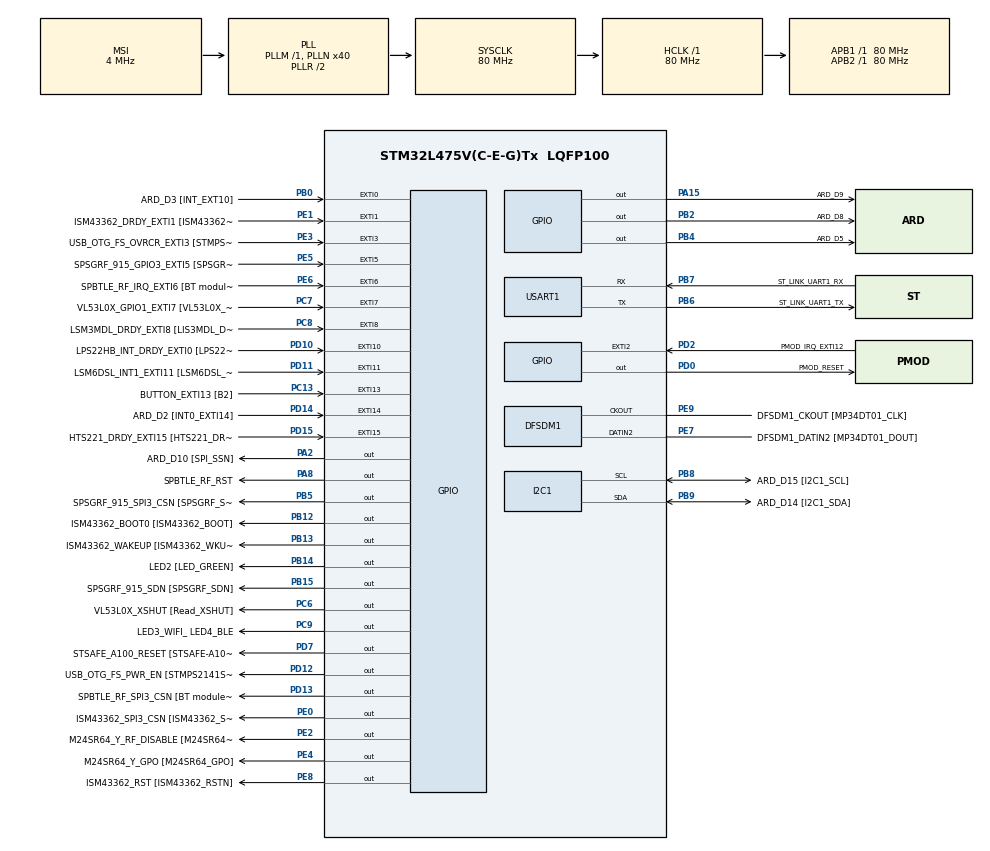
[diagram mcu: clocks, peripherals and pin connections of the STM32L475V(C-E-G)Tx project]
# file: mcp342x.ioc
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PD12.GPIO_Label=USB_OTG_FS_PWR_EN [STMPS2141STR_EN]
PC12.Signal=SPI3_MOSI
PB14.GPIO_Label=LED2 [LED_GREEN]
PC6.GPIO_Label=VL53L0X_XSHUT [Read_XSHUT]
PA6.GPIO_Label=ARD_D12 [SPI1_MISO]
PB6.GPIO_Label=ST_LINK_UART1_TX
PA15\ (JTDI).Signal=GPIO_Output
PC15-OSC32_OUT\ (PC15).Mode=LSE-External-Oscillator
PB13.Signal=GPIO_Output
PD6.GPIO_Label=PMOD_UART2_RX
PE6.GPIO_Label=SPBTLE_RF_IRQ_EXTI6 [BT module_SPI_IRQ]
RCC.SYSCLKSource=RCC_SYSCLKSOURCE_PLLCLK
PC14-OSC32_IN\ (PC14).Mode=LSE-External-Oscillator
SH.ADCx_IN16.0=ADC1_IN16
PA14\ (JTCK-SWCLK).Signal=SYS_JTCK-SWCLK
PD4.Signal=USART2_RTS
RCC.APB2TimFreq_Value=80000000
PB6.Signal=USART1_TX
PC7.Signal=GPXTI7
PB6.Mode=Asynchronous
PC3.Signal=ADCx_IN4
PD0.Signal=GPIO_Output
PD8.Signal=USART3_TX
PE5.Signal=GPXTI5
PE1.Signal=GPXTI1
NVIC.EXTI15_10_IRQn=true\:0\:0\:false\:false\:true\:true\:true
PB2.Signal=GPIO_Output
PD1.GPIO_Label=PMOD_SPI2_SCK
PB12.GPIO_Label=ISM43362_BOOT0 [ISM43362_BOOT]
PC4.GPIO_Label=ARD_A1 [ADC]
PE9.Signal=S_CKOUTDFSDM1
PB1.GPIO_Label=ARD_D6 [ADC1_IN6]
PE4.GPIO_Label=M24SR64_Y_GPO [M24SR64_GPO]
PE2.Signal=GPIO_Output
PA8.Signal=GPIO_Output
PE10.Signal=QUADSPI_CLK
PA0.Signal=UART4_TX
Mcu.Package=LQFP100
PB9.Signal=I2C1_SDA
PB1.Signal=ADCx_IN16
SH.ADCx_IN14.0=ADC1_IN14
PD12.Signal=GPIO_Output
PA10.Signal=USB_OTG_FS_ID
PE12.GPIO_Label=OQUADSPI_BK1_IO0 [MX25R6435F_IO0]
SH.ADCx_IN9.0=ADC1_IN9
RCC.APB1TimFreq_Value=80000000
PA13\ (JTMS-SWDIO).Signal=SYS_JTMS-SWDIO
PE10.GPIO_Label=QUADSPI_CLK [MX25R6435F_SCLK]
PA4.GPIO_Label=ARD_D7
PD15.Signal=GPXTI15
PD9.GPIO_Label=INTERNAL_UART3_RX [ISM43362_TX]
PA9.GPIO_Label=USB_OTG_FS_VBUS [STMPS2141STR_OUT]
PC13.Signal=GPXTI13
PD3.Signal=USART2_CTS
PC2.Signal=ADCx_IN3
PC6.Signal=GPIO_Output
PB11.GPIO_Label=INTERNAL_I2C2_SDA [VL53L0X_SDA]
PD7.Signal=GPIO_Output
PD1.Signal=SPI2_SCK
PA11.GPIO_Label=USB_OTG_FS_DM
PC0.Signal=ADCx_IN1
PD10.Signal=GPXTI10
PB8.GPIO_Label=ARD_D15 [I2C1_SCL]
PA8.GPIO_Label=SPBTLE_RF_RST
PE8.GPIO_Label=ISM43362_RST [ISM43362_RSTN]
PA9.Signal=USB_OTG_FS_VBUS
I2C1.Timing=0x10909CEC
PE9.GPIO_Label=DFSDM1_CKOUT [MP34DT01_CLK]
PB10.Signal=I2C2_SCL
PB14.Signal=GPIO_Output
PA5.Signal=SPI1_SCK
PE1.GPIO_Label=ISM43362_DRDY_EXTI1 [ISM43362_DATARDY]
PE14.Signal=QUADSPI_BK1_IO2
PE15.Signal=QUADSPI_BK1_IO3
PB15.GPIO_Label=SPSGRF_915_SDN [SPSGRF_SDN]
PE8.Signal=GPIO_Output
PA1.GPIO_Label=ARD_D0 [UART4_RX]
SH.ADCx_IN4.0=ADC1_IN4
PC7.GPIO_Label=VL53L0X_GPIO1_EXTI7 [VL53L0X_GPIO1]
PA13\ (JTMS-SWDIO).Mode=Serial_Wire
PA4.Signal=ADCx_IN9
PB5.Signal=GPIO_Output
PE13.GPIO_Label=QUADSPI_BK1_IO1 [MX25R6435F_IO1]
PA5.GPIO_Label=ARD_D13 [SPI1_SCK]
PD11.Signal=GPXTI11
PE5.GPIO_Label=SPSGRF_915_GPIO3_EXTI5 [SPSGRF_GPIO_3]
PC12.GPIO_Label=INTERNAL_SPI3_MOSI [BT module_SPI_MOSI] [ISM43362_MOSI]
PA11.Signal=USB_OTG_FS_DM
ProjectManager.HeapSize=0x200
NVIC.PriorityGroup=NVIC_PRIORITYGROUP_4
PB8.Mode=I2C
PE3.Signal=GPXTI3
PC3.GPIO_Label=ARD_A2 [ADC]
PB4\ (NJTRST).GPIO_Label=ARD_D5
PD2.Signal=GPXTI2
PB0.Signal=GPXTI0
PC1.Signal=ADCx_IN2
PD2.GPIO_Label=PMOD_IRQ_EXTI12
Mcu.Family=STM32L4
RCC.CortexFreq_Value=80000000
PE11.GPIO_Label=QUADSPI_NCS [MX25R6435F_SCLK]
SH.ADCx_IN2.0=ADC1_IN2
PC10.Signal=SPI3_SCK
PA0.GPIO_Label=ARD_D1 [UART4_TX]
PC0.GPIO_Label=ARD_A5 [ADC]
PD0.GPIO_Label=PMOD_RESET
PB0.GPIO_Label=ARD_D3 [INT_EXT10]
PC13.GPIO_Label=BUTTON_EXTI13 [B2]
PB13.GPIO_Label=ISM43362_WAKEUP [ISM43362_WKUP]
PB11.Signal=I2C2_SDA
PB15.Signal=GPIO_Output
ProjectManager.StackSize=0x400
PB3\ (JTDO-TRACESWO).Signal=SYS_JTDO-SWO
PD13.Signal=GPIO_Output
PA12.Signal=USB_OTG_FS_DP
PD11.GPIO_Label=LSM6DSL_INT1_EXTI11 [LSM6DSL_INT1]
RCC.HCLKFreq_Value=80000000
SH.ADCx_IN3.0=ADC1_IN3
PB5.PinState=GPIO_PIN_SET
RCC.AHBFreq_Value=80000000
RCC.HSE_VALUE=8000000
PE13.Signal=QUADSPI_BK1_IO1
PC11.GPIO_Label=INTERNAL_SPI3_MISO [BT module_SPI_MISO] [ISM43362_MISO]
PA10.GPIO_Label=USB_OTG_FS_ID
PB7.Signal=USART1_RX
PE4.Signal=GPIO_Output
PD7.GPIO_Label=STSAFE_A100_RESET [STSAFE-A100_RESET]
PB7.GPIO_Label=ST_LINK_UART1_RX
PD13.GPIO_Label=SPBTLE_RF_SPI3_CSN [BT module_SPI_CS]
PA6.Signal=SPI1_MISO
PD5.GPIO_Label=PMOD_UART2_TX
PA2.GPIO_Label=ARD_D10 [SPI_SSN]
PE0.GPIO_Label=ISM43362_SPI3_CSN [ISM43362_SSN]
SH.ADCx_IN1.0=ADC1_IN1
PB5.GPIO_Label=SPSGRF_915_SPI3_CSN [SPSGRF_SPI_CS]
PC5.Signal=ADCx_IN14
PD3.GPIO_Label=PMOD_UART2_CTS
PE7.Signal=S_DATAIN2DFSDM1
PD6.Signal=USART2_RX
PE2.GPIO_Label=M24SR64_Y_RF_DISABLE [M24SR64_RFDIS]
PC2.GPIO_Label=ARD_A3 [ADC]
RCC.PLLSAI1N=24
PA3.Signal=S_TIM2_CH4
RCC.MSI_VALUE=4000000
PA14\ (JTCK-SWCLK).Mode=Serial_Wire
SH.ADCx_IN13.0=ADC1_IN13
PD15.GPIO_Label=HTS221_DRDY_EXTI15 [HTS221_DRDY]
PB9.GPIO_Label=ARD_D14 [I2C1_SDA]
PC10.GPIO_Label=INTERNAL_SPI3_SCK [BT module_SPI_SCLK] [ISM43362_SCK]
PC9.GPIO_Label=LED3_WIFI_ LED4_BLE
PC11.Signal=SPI3_MISO
PC8.Signal=GPXTI8
PC4.Signal=ADCx_IN13
SH.S_DATAIN2DFSDM1.0=DFSDM1_DATIN2,PDM_SPI_Input_from_ch12_and_Internal_Clock
PE14.GPIO_Label=QUAD_SPI_BK1_IO2 [MX25R6435F_IO2]
PC15-OSC32_OUT\ (PC15).Signal=RCC_OSC32_OUT
PD9.Signal=USART3_RX
PD5.Signal=USART2_TX
PA14\ (JTCK-SWCLK).GPIO_Label=SYS_JTCK_SWCLK
PB3\ (JTDO-TRACESWO).GPIO_Label=SYS_JTD0_SWO
PA12.GPIO_Label=USB_OTG_FS_DP
PD8.GPIO_Label=INTERNAL_UART3_TX [ISM43362_RX]
PC8.GPIO_Label=LSM3MDL_DRDY_EXTI8 [LIS3MDL_DRDY]
USART1.VirtualMode-Asynchronous=VM_ASYNC
PE0.PinState=GPIO_PIN_SET
PE15.GPIO_Label=QUAD_SPI_BK1_IO3 [MX25R6435F_IO3]
ProjectManager.TargetToolchain=STM32CubeIDE
PB10.GPIO_Label=INTERNAL_I2C2_SCL [VL53L0X_SCL]
PB9.Mode=I2C
RCC.USBFreq_Value=48000000
PD10.GPIO_Label=LPS22HB_INT_DRDY_EXTI0 [LPS22HB_INT_DRDY] 
PE11.Signal=QUADSPI_NCS
PA1.Signal=UART4_RX
board=B-L475E-IOT01A1
RCC.VCOOutputFreq_Value=160000000
RCC.APB2Freq_Value=80000000
PA13\ (JTMS-SWDIO).GPIO_Label=SYS_JTMS_SWDIO
PD4.GPIO_Label=PMOD_UART2_RTS
SH.S_CKOUTDFSDM1.0=DFSDM1_CKOUT,CKOUT
SH.S_CKOUTDFSDM1.1=DFSDM1_CKOUT,PDM_SPI_Input_from_ch12_and_Internal_Clock
RCC.ADCFreq_Value=48000000
PC1.GPIO_Label=ARD_A4 [ADC]
PD14.GPIO_Label=ARD_D2 [INT0_EXTI14]
PE6.Signal=GPXTI6
PA15\ (JTDI).GPIO_Label=ARD_D9
Mcu.Name=STM32L475V(C-E-G)Tx
PE0.Signal=GPIO_Output
PE7.GPIO_Label=DFSDM1_DATIN2 [MP34DT01_DOUT]
PE12.Signal=QUADSPI_BK1_IO0
PA2.Signal=GPIO_Output
PD14.Signal=GPXTI14
RCC.SYSCLKFreq_VALUE=80000000
PA7.GPIO_Label=ARD_D11 [SPI1_MOSI]
PC13.GPIO_ModeDefaultEXTI=GPIO_MODE_IT_FALLING
PC5.GPIO_Label=ARD_A0 [ADC]
PC14-OSC32_IN\ (PC14).Signal=RCC_OSC32_IN
PB7.Mode=Asynchronous
NVIC.EXTI9_5_IRQn=true\:0\:0\:false\:false\:true\:true\:true
PB2.GPIO_Label=ARD_D8
SH.S_TIM2_CH4.0=TIM2_CH4
RCC.HSI_VALUE=16000000
RCC.PLLN=40
PB8.Signal=I2C1_SCL
PE3.GPIO_Label=USB_OTG_FS_OVRCR_EXTI3 [STMPS2141STR_FAULT]
PC9.Signal=GPIO_Output
PD13.PinState=GPIO_PIN_SET
RCC.APB1Freq_Value=80000000
PB12.Signal=GPIO_Output
PA3.GPIO_Label=ARD_D4
PA7.Signal=SPI1_MOSI
PB4\ (NJTRST).Signal=GPIO_Output

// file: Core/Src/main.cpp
/* USER CODE BEGIN Header */
/**
 ******************************************************************************
 * @file           : main.c
 * @brief          : Main program body
 ******************************************************************************
 * @attention
 *
 * <h2><center>&copy; Copyright (c) 2022 STMicroelectronics.
 * All rights reserved.</center></h2>
 *
 * This software component is licensed by ST under BSD 3-Clause license,
 * the "License"; You may not use this file except in compliance with the
 * License. You may obtain a copy of the License at:
 *                        opensource.org/licenses/BSD-3-Clause
 *
 ******************************************************************************
 */
/* USER CODE END Header */
#include "main.h"

/* USER CODE BEGIN Includes */
#include "stdio.h"
#include "mcp342x.h"
/* USER CODE END Includes */

DFSDM_Channel_HandleTypeDef hdfsdm1_channel1;

I2C_HandleTypeDef hi2c1;

UART_HandleTypeDef huart1;

void SystemClock_Config(void);
static void MX_GPIO_Init(void);
static void MX_DFSDM1_Init(void);
static void MX_I2C1_Init(void);
static void MX_USART1_UART_Init(void);

/* USER CODE BEGIN 0 */
extern "C" {
int __io_putchar(int ch) {
	HAL_UART_Transmit(&huart1, (uint8_t*) &ch, 1, 0xFFFF);
	return ch;
}
}

/* USER CODE END 0 */

int main(void) {
	/* USER CODE BEGIN 1 */
	MCP342X mcp3422(0x69);

	/* USER CODE END 1 */

	/* MCU Configuration--------------------------------------------------------*/

	/* Reset of all peripherals, Initializes the Flash interface and the Systick. */
	HAL_Init();

	/* Configure the system clock */
	SystemClock_Config();

	/* Initialize all configured peripherals */
	MX_GPIO_Init();
	MX_DFSDM1_Init();
	MX_I2C1_Init();
	MX_USART1_UART_Init();
	/* USER CODE BEGIN 2 */
	mcp3422.init(&hi2c1);

	if(!mcp3422.isConnected()){
		printf("Initialization Failed \r\n");
		Error_Handler();
	}

	uint8_t config = (MCP3342X_MODE_CONTINUOUS |
					  MCP342X_CHANNEL_1 |
					  MCP342X_CHANNEL_2 |
					  MCP342X_SIZE_16BIT |
					  MCP342X_GAIN_1X
					);
	mcp3422.configure(config);

	/* USER CODE END 2 */

	/* Infinite loop */
	/* USER CODE BEGIN WHILE */
	while (1) {
		static int16_t raw_sample;
		float voltage;
		/* USER CODE END WHILE */

		/* USER CODE BEGIN 3 */
		mcp3422.startConversion(MCP342X_CHANNEL_1);
		mcp3422.getResult(&raw_sample);
		voltage = (raw_sample * 2048) / 32767;

		printf("Channel 1:\r\n Result = %4.2fmV\r\n", voltage);

		mcp3422.startConversion(MCP342X_CHANNEL_2);
		mcp3422.getResult(&raw_sample);
		voltage = (raw_sample * 2048) / 32767;
		printf("Channel 2:\r\n Result = %4.2fmV\r\n", voltage);
		HAL_Delay(1000);
	}
	/* USER CODE END 3 */
}

void SystemClock_Config(void) {
	RCC_OscInitTypeDef RCC_OscInitStruct = { 0 };
	RCC_ClkInitTypeDef RCC_ClkInitStruct = { 0 };
	RCC_PeriphCLKInitTypeDef PeriphClkInit = { 0 };

	/** Configure LSE Drive Capability
	 */
	HAL_PWR_EnableBkUpAccess();
	__HAL_RCC_LSEDRIVE_CONFIG(RCC_LSEDRIVE_LOW);
	/** Initializes the RCC Oscillators according to the specified parameters
	 * in the RCC_OscInitTypeDef structure.
	 */
	RCC_OscInitStruct.OscillatorType = RCC_OSCILLATORTYPE_LSE
			| RCC_OSCILLATORTYPE_MSI;
	RCC_OscInitStruct.LSEState = RCC_LSE_ON;
	RCC_OscInitStruct.MSIState = RCC_MSI_ON;
	RCC_OscInitStruct.MSICalibrationValue = 0;
	RCC_OscInitStruct.MSIClockRange = RCC_MSIRANGE_6;
	RCC_OscInitStruct.PLL.PLLState = RCC_PLL_ON;
	RCC_OscInitStruct.PLL.PLLSource = RCC_PLLSOURCE_MSI;
	RCC_OscInitStruct.PLL.PLLM = 1;
	RCC_OscInitStruct.PLL.PLLN = 40;
	RCC_OscInitStruct.PLL.PLLP = RCC_PLLP_DIV7;
	RCC_OscInitStruct.PLL.PLLQ = RCC_PLLQ_DIV2;
	RCC_OscInitStruct.PLL.PLLR = RCC_PLLR_DIV2;
	if (HAL_RCC_OscConfig(&RCC_OscInitStruct) != HAL_OK) {
		Error_Handler();
	}
	/** Initializes the CPU, AHB and APB buses clocks
	 */
	RCC_ClkInitStruct.ClockType = RCC_CLOCKTYPE_HCLK | RCC_CLOCKTYPE_SYSCLK
			| RCC_CLOCKTYPE_PCLK1 | RCC_CLOCKTYPE_PCLK2;
	RCC_ClkInitStruct.SYSCLKSource = RCC_SYSCLKSOURCE_PLLCLK;
	RCC_ClkInitStruct.AHBCLKDivider = RCC_SYSCLK_DIV1;
	RCC_ClkInitStruct.APB1CLKDivider = RCC_HCLK_DIV1;
	RCC_ClkInitStruct.APB2CLKDivider = RCC_HCLK_DIV1;

	if (HAL_RCC_ClockConfig(&RCC_ClkInitStruct, FLASH_LATENCY_4) != HAL_OK) {
		Error_Handler();
	}
	PeriphClkInit.PeriphClockSelection = RCC_PERIPHCLK_USART1
			| RCC_PERIPHCLK_I2C1 | RCC_PERIPHCLK_DFSDM1;
	PeriphClkInit.Usart1ClockSelection = RCC_USART1CLKSOURCE_PCLK2;
	PeriphClkInit.I2c1ClockSelection = RCC_I2C1CLKSOURCE_PCLK1;
	PeriphClkInit.Dfsdm1ClockSelection = RCC_DFSDM1CLKSOURCE_PCLK;
	if (HAL_RCCEx_PeriphCLKConfig(&PeriphClkInit) != HAL_OK) {
		Error_Handler();
	}
	/** Configure the main internal regulator output voltage
	 */
	if (HAL_PWREx_ControlVoltageScaling(PWR_REGULATOR_VOLTAGE_SCALE1)
			!= HAL_OK) {
		Error_Handler();
	}
	/** Enable MSI Auto calibration
	 */
	HAL_RCCEx_EnableMSIPLLMode();
}

static void MX_DFSDM1_Init(void) {

	hdfsdm1_channel1.Instance = DFSDM1_Channel1;
	hdfsdm1_channel1.Init.OutputClock.Activation = ENABLE;
	hdfsdm1_channel1.Init.OutputClock.Selection =
	DFSDM_CHANNEL_OUTPUT_CLOCK_SYSTEM;
	hdfsdm1_channel1.Init.OutputClock.Divider = 2;
	hdfsdm1_channel1.Init.Input.Multiplexer = DFSDM_CHANNEL_EXTERNAL_INPUTS;
	hdfsdm1_channel1.Init.Input.DataPacking = DFSDM_CHANNEL_STANDARD_MODE;
	hdfsdm1_channel1.Init.Input.Pins = DFSDM_CHANNEL_FOLLOWING_CHANNEL_PINS;
	hdfsdm1_channel1.Init.SerialInterface.Type = DFSDM_CHANNEL_SPI_RISING;
	hdfsdm1_channel1.Init.SerialInterface.SpiClock =
	DFSDM_CHANNEL_SPI_CLOCK_INTERNAL;
	hdfsdm1_channel1.Init.Awd.FilterOrder = DFSDM_CHANNEL_FASTSINC_ORDER;
	hdfsdm1_channel1.Init.Awd.Oversampling = 1;
	hdfsdm1_channel1.Init.Offset = 0;
	hdfsdm1_channel1.Init.RightBitShift = 0x00;
	if (HAL_DFSDM_ChannelInit(&hdfsdm1_channel1) != HAL_OK) {
		Error_Handler();
	}

}

static void MX_I2C1_Init(void) {

	hi2c1.Instance = I2C1;
	hi2c1.Init.Timing = 0x10909CEC;
	hi2c1.Init.OwnAddress1 = 0;
	hi2c1.Init.AddressingMode = I2C_ADDRESSINGMODE_7BIT;
	hi2c1.Init.DualAddressMode = I2C_DUALADDRESS_DISABLE;
	hi2c1.Init.OwnAddress2 = 0;
	hi2c1.Init.OwnAddress2Masks = I2C_OA2_NOMASK;
	hi2c1.Init.GeneralCallMode = I2C_GENERALCALL_DISABLE;
	hi2c1.Init.NoStretchMode = I2C_NOSTRETCH_DISABLE;
	if (HAL_I2C_Init(&hi2c1) != HAL_OK) {
		Error_Handler();
	}
	/** Configure Analogue filter
	 */
	if (HAL_I2CEx_ConfigAnalogFilter(&hi2c1, I2C_ANALOGFILTER_ENABLE)
			!= HAL_OK) {
		Error_Handler();
	}
	/** Configure Digital filter
	 */
	if (HAL_I2CEx_ConfigDigitalFilter(&hi2c1, 0) != HAL_OK) {
		Error_Handler();
	}

}

static void MX_USART1_UART_Init(void) {

	huart1.Instance = USART1;
	huart1.Init.BaudRate = 115200;
	huart1.Init.WordLength = UART_WORDLENGTH_8B;
	huart1.Init.StopBits = UART_STOPBITS_1;
	huart1.Init.Parity = UART_PARITY_NONE;
	huart1.Init.Mode = UART_MODE_TX_RX;
	huart1.Init.HwFlowCtl = UART_HWCONTROL_NONE;
	huart1.Init.OverSampling = UART_OVERSAMPLING_16;
	huart1.Init.OneBitSampling = UART_ONE_BIT_SAMPLE_DISABLE;
	huart1.AdvancedInit.AdvFeatureInit = UART_ADVFEATURE_NO_INIT;
	if (HAL_UART_Init(&huart1) != HAL_OK) {
		Error_Handler();
	}

}

static void MX_GPIO_Init(void) {
	GPIO_InitTypeDef GPIO_InitStruct = { 0 };

	/* GPIO Ports Clock Enable */
	__HAL_RCC_GPIOE_CLK_ENABLE();
	__HAL_RCC_GPIOC_CLK_ENABLE();
	__HAL_RCC_GPIOA_CLK_ENABLE();
	__HAL_RCC_GPIOB_CLK_ENABLE();
	__HAL_RCC_GPIOD_CLK_ENABLE();

	/*Configure GPIO pin Output Level */
	HAL_GPIO_WritePin(GPIOE,
	M24SR64_Y_RF_DISABLE_Pin | M24SR64_Y_GPO_Pin | ISM43362_RST_Pin,
			GPIO_PIN_RESET);

	/*Configure GPIO pin Output Level */
	HAL_GPIO_WritePin(GPIOA, ARD_D10_Pin | SPBTLE_RF_RST_Pin | ARD_D9_Pin,
			GPIO_PIN_RESET);

	/*Configure GPIO pin Output Level */
	HAL_GPIO_WritePin(GPIOB,
			ARD_D8_Pin | ISM43362_BOOT0_Pin | ISM43362_WAKEUP_Pin | LED2_Pin
					| SPSGRF_915_SDN_Pin | ARD_D5_Pin, GPIO_PIN_RESET);

	/*Configure GPIO pin Output Level */
	HAL_GPIO_WritePin(GPIOD,
	USB_OTG_FS_PWR_EN_Pin | PMOD_RESET_Pin | STSAFE_A100_RESET_Pin,
			GPIO_PIN_RESET);

	/*Configure GPIO pin Output Level */
	HAL_GPIO_WritePin(SPBTLE_RF_SPI3_CSN_GPIO_Port, SPBTLE_RF_SPI3_CSN_Pin,
			GPIO_PIN_SET);

	/*Configure GPIO pin Output Level */
	HAL_GPIO_WritePin(GPIOC, VL53L0X_XSHUT_Pin | LED3_WIFI__LED4_BLE_Pin,
			GPIO_PIN_RESET);

	/*Configure GPIO pin Output Level */
	HAL_GPIO_WritePin(SPSGRF_915_SPI3_CSN_GPIO_Port, SPSGRF_915_SPI3_CSN_Pin,
			GPIO_PIN_SET);

	/*Configure GPIO pin Output Level */
	HAL_GPIO_WritePin(ISM43362_SPI3_CSN_GPIO_Port, ISM43362_SPI3_CSN_Pin,
			GPIO_PIN_SET);

	/*Configure GPIO pins : M24SR64_Y_RF_DISABLE_Pin M24SR64_Y_GPO_Pin ISM43362_RST_Pin ISM43362_SPI3_CSN_Pin */
	GPIO_InitStruct.Pin = M24SR64_Y_RF_DISABLE_Pin | M24SR64_Y_GPO_Pin
			| ISM43362_RST_Pin | ISM43362_SPI3_CSN_Pin;
	GPIO_InitStruct.Mode = GPIO_MODE_OUTPUT_PP;
	GPIO_InitStruct.Pull = GPIO_NOPULL;
	GPIO_InitStruct.Speed = GPIO_SPEED_FREQ_LOW;
	HAL_GPIO_Init(GPIOE, &GPIO_InitStruct);

	/*Configure GPIO pins : USB_OTG_FS_OVRCR_EXTI3_Pin SPSGRF_915_GPIO3_EXTI5_Pin SPBTLE_RF_IRQ_EXTI6_Pin ISM43362_DRDY_EXTI1_Pin */
	GPIO_InitStruct.Pin = USB_OTG_FS_OVRCR_EXTI3_Pin
			| SPSGRF_915_GPIO3_EXTI5_Pin | SPBTLE_RF_IRQ_EXTI6_Pin
			| ISM43362_DRDY_EXTI1_Pin;
	GPIO_InitStruct.Mode = GPIO_MODE_IT_RISING;
	GPIO_InitStruct.Pull = GPIO_NOPULL;
	HAL_GPIO_Init(GPIOE, &GPIO_InitStruct);

	/*Configure GPIO pin : BUTTON_EXTI13_Pin */
	GPIO_InitStruct.Pin = BUTTON_EXTI13_Pin;
	GPIO_InitStruct.Mode = GPIO_MODE_IT_FALLING;
	GPIO_InitStruct.Pull = GPIO_NOPULL;
	HAL_GPIO_Init(BUTTON_EXTI13_GPIO_Port, &GPIO_InitStruct);

	/*Configure GPIO pins : ARD_A5_Pin ARD_A4_Pin ARD_A3_Pin ARD_A2_Pin
	 ARD_A1_Pin ARD_A0_Pin */
	GPIO_InitStruct.Pin = ARD_A5_Pin | ARD_A4_Pin | ARD_A3_Pin | ARD_A2_Pin
			| ARD_A1_Pin | ARD_A0_Pin;
	GPIO_InitStruct.Mode = GPIO_MODE_ANALOG_ADC_CONTROL;
	GPIO_InitStruct.Pull = GPIO_NOPULL;
	HAL_GPIO_Init(GPIOC, &GPIO_InitStruct);

	/*Configure GPIO pins : ARD_D1_Pin ARD_D0_Pin */
	GPIO_InitStruct.Pin = ARD_D1_Pin | ARD_D0_Pin;
	GPIO_InitStruct.Mode = GPIO_MODE_AF_PP;
	GPIO_InitStruct.Pull = GPIO_NOPULL;
	GPIO_InitStruct.Speed = GPIO_SPEED_FREQ_VERY_HIGH;
	GPIO_InitStruct.Alternate = GPIO_AF8_UART4;
	HAL_GPIO_Init(GPIOA, &GPIO_InitStruct);

	/*Configure GPIO pins : ARD_D10_Pin SPBTLE_RF_RST_Pin ARD_D9_Pin */
	GPIO_InitStruct.Pin = ARD_D10_Pin | SPBTLE_RF_RST_Pin | ARD_D9_Pin;
	GPIO_InitStruct.Mode = GPIO_MODE_OUTPUT_PP;
	GPIO_InitStruct.Pull = GPIO_NOPULL;
	GPIO_InitStruct.Speed = GPIO_SPEED_FREQ_LOW;
	HAL_GPIO_Init(GPIOA, &GPIO_InitStruct);

	/*Configure GPIO pin : ARD_D4_Pin */
	GPIO_InitStruct.Pin = ARD_D4_Pin;
	GPIO_InitStruct.Mode = GPIO_MODE_AF_PP;
	GPIO_InitStruct.Pull = GPIO_NOPULL;
	GPIO_InitStruct.Speed = GPIO_SPEED_FREQ_LOW;
	GPIO_InitStruct.Alternate = GPIO_AF1_TIM2;
	HAL_GPIO_Init(ARD_D4_GPIO_Port, &GPIO_InitStruct);

	/*Configure GPIO pin : ARD_D7_Pin */
	GPIO_InitStruct.Pin = ARD_D7_Pin;
	GPIO_InitStruct.Mode = GPIO_MODE_ANALOG_ADC_CONTROL;
	GPIO_InitStruct.Pull = GPIO_NOPULL;
	HAL_GPIO_Init(ARD_D7_GPIO_Port, &GPIO_InitStruct);

	/*Configure GPIO pins : ARD_D13_Pin ARD_D12_Pin ARD_D11_Pin */
	GPIO_InitStruct.Pin = ARD_D13_Pin | ARD_D12_Pin | ARD_D11_Pin;
	GPIO_InitStruct.Mode = GPIO_MODE_AF_PP;
	GPIO_InitStruct.Pull = GPIO_NOPULL;
	GPIO_InitStruct.Speed = GPIO_SPEED_FREQ_VERY_HIGH;
	GPIO_InitStruct.Alternate = GPIO_AF5_SPI1;
	HAL_GPIO_Init(GPIOA, &GPIO_InitStruct);

	/*Configure GPIO pin : ARD_D3_Pin */
	GPIO_InitStruct.Pin = ARD_D3_Pin;
	GPIO_InitStruct.Mode = GPIO_MODE_IT_RISING;
	GPIO_InitStruct.Pull = GPIO_NOPULL;
	HAL_GPIO_Init(ARD_D3_GPIO_Port, &GPIO_InitStruct);

	/*Configure GPIO pin : ARD_D6_Pin */
	GPIO_InitStruct.Pin = ARD_D6_Pin;
	GPIO_InitStruct.Mode = GPIO_MODE_ANALOG_ADC_CONTROL;
	GPIO_InitStruct.Pull = GPIO_NOPULL;
	HAL_GPIO_Init(ARD_D6_GPIO_Port, &GPIO_InitStruct);

	/*Configure GPIO pins : ARD_D8_Pin ISM43362_BOOT0_Pin ISM43362_WAKEUP_Pin LED2_Pin
	 SPSGRF_915_SDN_Pin ARD_D5_Pin SPSGRF_915_SPI3_CSN_Pin */
	GPIO_InitStruct.Pin = ARD_D8_Pin | ISM43362_BOOT0_Pin | ISM43362_WAKEUP_Pin
			| LED2_Pin | SPSGRF_915_SDN_Pin | ARD_D5_Pin
			| SPSGRF_915_SPI3_CSN_Pin;
	GPIO_InitStruct.Mode = GPIO_MODE_OUTPUT_PP;
	GPIO_InitStruct.Pull = GPIO_NOPULL;
	GPIO_InitStruct.Speed = GPIO_SPEED_FREQ_LOW;
	HAL_GPIO_Init(GPIOB, &GPIO_InitStruct);

	/*Configure GPIO pins : QUADSPI_CLK_Pin QUADSPI_NCS_Pin OQUADSPI_BK1_IO0_Pin QUADSPI_BK1_IO1_Pin
	 QUAD_SPI_BK1_IO2_Pin QUAD_SPI_BK1_IO3_Pin */
	GPIO_InitStruct.Pin = QUADSPI_CLK_Pin | QUADSPI_NCS_Pin
			| OQUADSPI_BK1_IO0_Pin | QUADSPI_BK1_IO1_Pin | QUAD_SPI_BK1_IO2_Pin
			| QUAD_SPI_BK1_IO3_Pin;
	GPIO_InitStruct.Mode = GPIO_MODE_AF_PP;
	GPIO_InitStruct.Pull = GPIO_NOPULL;
	GPIO_InitStruct.Speed = GPIO_SPEED_FREQ_VERY_HIGH;
	GPIO_InitStruct.Alternate = GPIO_AF10_QUADSPI;
	HAL_GPIO_Init(GPIOE, &GPIO_InitStruct);

	/*Configure GPIO pins : INTERNAL_I2C2_SCL_Pin INTERNAL_I2C2_SDA_Pin */
	GPIO_InitStruct.Pin = INTERNAL_I2C2_SCL_Pin | INTERNAL_I2C2_SDA_Pin;
	GPIO_InitStruct.Mode = GPIO_MODE_AF_OD;
	GPIO_InitStruct.Pull = GPIO_PULLUP;
	GPIO_InitStruct.Speed = GPIO_SPEED_FREQ_VERY_HIGH;
	GPIO_InitStruct.Alternate = GPIO_AF4_I2C2;
	HAL_GPIO_Init(GPIOB, &GPIO_InitStruct);

	/*Configure GPIO pins : INTERNAL_UART3_TX_Pin INTERNAL_UART3_RX_Pin */
	GPIO_InitStruct.Pin = INTERNAL_UART3_TX_Pin | INTERNAL_UART3_RX_Pin;
	GPIO_InitStruct.Mode = GPIO_MODE_AF_PP;
	GPIO_InitStruct.Pull = GPIO_NOPULL;
	GPIO_InitStruct.Speed = GPIO_SPEED_FREQ_VERY_HIGH;
	GPIO_InitStruct.Alternate = GPIO_AF7_USART3;
	HAL_GPIO_Init(GPIOD, &GPIO_InitStruct);

	/*Configure GPIO pins : LPS22HB_INT_DRDY_EXTI0_Pin LSM6DSL_INT1_EXTI11_Pin ARD_D2_Pin HTS221_DRDY_EXTI15_Pin
	 PMOD_IRQ_EXTI12_Pin */
	GPIO_InitStruct.Pin = LPS22HB_INT_DRDY_EXTI0_Pin | LSM6DSL_INT1_EXTI11_Pin
			| ARD_D2_Pin | HTS221_DRDY_EXTI15_Pin | PMOD_IRQ_EXTI12_Pin;
	GPIO_InitStruct.Mode = GPIO_MODE_IT_RISING;
	GPIO_InitStruct.Pull = GPIO_NOPULL;
	HAL_GPIO_Init(GPIOD, &GPIO_InitStruct);

	/*Configure GPIO pins : USB_OTG_FS_PWR_EN_Pin SPBTLE_RF_SPI3_CSN_Pin PMOD_RESET_Pin STSAFE_A100_RESET_Pin */
	GPIO_InitStruct.Pin = USB_OTG_FS_PWR_EN_Pin | SPBTLE_RF_SPI3_CSN_Pin
			| PMOD_RESET_Pin | STSAFE_A100_RESET_Pin;
	GPIO_InitStruct.Mode = GPIO_MODE_OUTPUT_PP;
	GPIO_InitStruct.Pull = GPIO_NOPULL;
	GPIO_InitStruct.Speed = GPIO_SPEED_FREQ_LOW;
	HAL_GPIO_Init(GPIOD, &GPIO_InitStruct);

	/*Configure GPIO pins : VL53L0X_XSHUT_Pin LED3_WIFI__LED4_BLE_Pin */
	GPIO_InitStruct.Pin = VL53L0X_XSHUT_Pin | LED3_WIFI__LED4_BLE_Pin;
	GPIO_InitStruct.Mode = GPIO_MODE_OUTPUT_PP;
	GPIO_InitStruct.Pull = GPIO_NOPULL;
	GPIO_InitStruct.Speed = GPIO_SPEED_FREQ_LOW;
	HAL_GPIO_Init(GPIOC, &GPIO_InitStruct);

	/*Configure GPIO pins : VL53L0X_GPIO1_EXTI7_Pin LSM3MDL_DRDY_EXTI8_Pin */
	GPIO_InitStruct.Pin = VL53L0X_GPIO1_EXTI7_Pin | LSM3MDL_DRDY_EXTI8_Pin;
	GPIO_InitStruct.Mode = GPIO_MODE_IT_RISING;
	GPIO_InitStruct.Pull = GPIO_NOPULL;
	HAL_GPIO_Init(GPIOC, &GPIO_InitStruct);

	/*Configure GPIO pin : USB_OTG_FS_VBUS_Pin */
	GPIO_InitStruct.Pin = USB_OTG_FS_VBUS_Pin;
	GPIO_InitStruct.Mode = GPIO_MODE_INPUT;
	GPIO_InitStruct.Pull = GPIO_NOPULL;
	HAL_GPIO_Init(USB_OTG_FS_VBUS_GPIO_Port, &GPIO_InitStruct);

	/*Configure GPIO pins : USB_OTG_FS_ID_Pin USB_OTG_FS_DM_Pin USB_OTG_FS_DP_Pin */
	GPIO_InitStruct.Pin = USB_OTG_FS_ID_Pin | USB_OTG_FS_DM_Pin
			| USB_OTG_FS_DP_Pin;
	GPIO_InitStruct.Mode = GPIO_MODE_AF_PP;
	GPIO_InitStruct.Pull = GPIO_NOPULL;
	GPIO_InitStruct.Speed = GPIO_SPEED_FREQ_VERY_HIGH;
	GPIO_InitStruct.Alternate = GPIO_AF10_OTG_FS;
	HAL_GPIO_Init(GPIOA, &GPIO_InitStruct);

	/*Configure GPIO pins : INTERNAL_SPI3_SCK_Pin INTERNAL_SPI3_MISO_Pin INTERNAL_SPI3_MOSI_Pin */
	GPIO_InitStruct.Pin = INTERNAL_SPI3_SCK_Pin | INTERNAL_SPI3_MISO_Pin
			| INTERNAL_SPI3_MOSI_Pin;
	GPIO_InitStruct.Mode = GPIO_MODE_AF_PP;
	GPIO_InitStruct.Pull = GPIO_NOPULL;
	GPIO_InitStruct.Speed = GPIO_SPEED_FREQ_VERY_HIGH;
	GPIO_InitStruct.Alternate = GPIO_AF6_SPI3;
	HAL_GPIO_Init(GPIOC, &GPIO_InitStruct);

	/*Configure GPIO pin : PMOD_SPI2_SCK_Pin */
	GPIO_InitStruct.Pin = PMOD_SPI2_SCK_Pin;
	GPIO_InitStruct.Mode = GPIO_MODE_AF_PP;
	GPIO_InitStruct.Pull = GPIO_NOPULL;
	GPIO_InitStruct.Speed = GPIO_SPEED_FREQ_VERY_HIGH;
	GPIO_InitStruct.Alternate = GPIO_AF5_SPI2;
	HAL_GPIO_Init(PMOD_SPI2_SCK_GPIO_Port, &GPIO_InitStruct);

	/*Configure GPIO pins : PMOD_UART2_CTS_Pin PMOD_UART2_RTS_Pin PMOD_UART2_TX_Pin PMOD_UART2_RX_Pin */
	GPIO_InitStruct.Pin = PMOD_UART2_CTS_Pin | PMOD_UART2_RTS_Pin
			| PMOD_UART2_TX_Pin | PMOD_UART2_RX_Pin;
	GPIO_InitStruct.Mode = GPIO_MODE_AF_PP;
	GPIO_InitStruct.Pull = GPIO_NOPULL;
	GPIO_InitStruct.Speed = GPIO_SPEED_FREQ_VERY_HIGH;
	GPIO_InitStruct.Alternate = GPIO_AF7_USART2;
	HAL_GPIO_Init(GPIOD, &GPIO_InitStruct);

	/* EXTI interrupt init*/
	HAL_NVIC_SetPriority(EXTI9_5_IRQn, 0, 0);
	HAL_NVIC_EnableIRQ(EXTI9_5_IRQn);

	HAL_NVIC_SetPriority(EXTI15_10_IRQn, 0, 0);
	HAL_NVIC_EnableIRQ(EXTI15_10_IRQn);

}

void Error_Handler(void) {
	__disable_irq();
	while (1) {
	}
}

/************************ (C) COPYRIGHT STMicroelectronics *****END OF FILE****/
